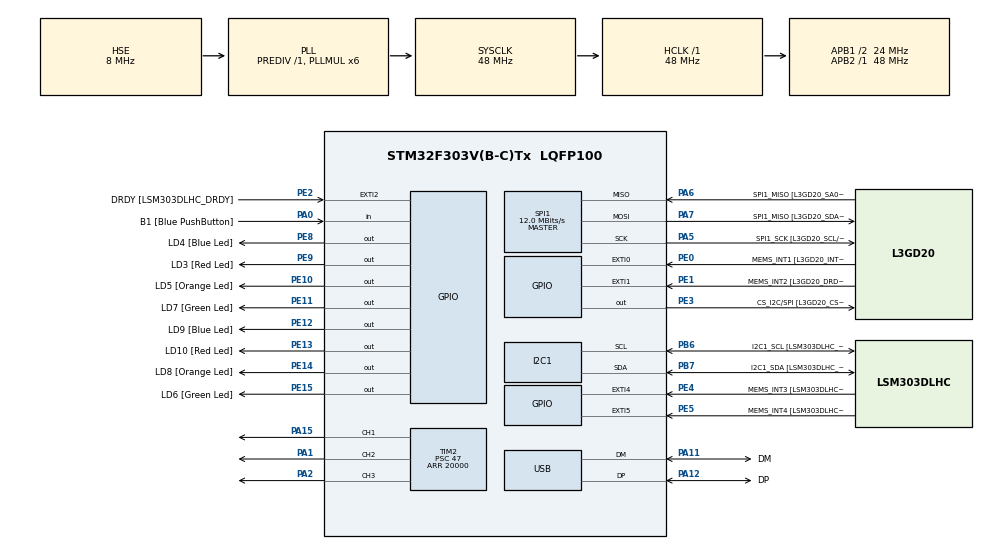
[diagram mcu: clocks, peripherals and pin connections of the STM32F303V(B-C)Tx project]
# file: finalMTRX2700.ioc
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I2C1.Timing=0x00201D2B
I2C1.Timing-I2C=0x2000090E
Mcu.Family=STM32F3
Mcu.Name=STM32F303V(B-C)Tx
Mcu.Package=LQFP100
NVIC.PriorityGroup=NVIC_PRIORITYGROUP_0
PA0.GPIO_Label=B1 [Blue PushButton]
PA0.Signal=GPIO_Input
PA1.Signal=S_TIM2_CH2
PA11.GPIO_Label=DM
PA11.Mode=Device
PA11.Signal=USB_DM
PA12.GPIO_Label=DP
PA12.Mode=Device
PA12.Signal=USB_DP
PA13.GPIO_Label=SWDIO
PA13.Mode=Serial_Wire
PA13.Signal=SYS_JTMS-SWDIO
PA14.GPIO_Label=SWCLK
PA14.Mode=Serial_Wire
PA14.Signal=SYS_JTCK-SWCLK
PA15.Signal=S_TIM2_CH1_ETR
PA2.Signal=S_TIM2_CH3
PA5.GPIO_Label=SPI1_SCK [L3GD20_SCL/SPC]
PA5.Mode=Full_Duplex_Master
PA5.Signal=SPI1_SCK
PA6.GPIO_Label=SPI1_MISO [L3GD20_SA0/SDO]
PA6.Mode=Full_Duplex_Master
PA6.Signal=SPI1_MISO
PA7.GPIO_Label=SPI1_MISO [L3GD20_SDA/SDI/SDO]
PA7.Mode=Full_Duplex_Master
PA7.Signal=SPI1_MOSI
PB3.GPIO_Label=SWO
PB3.Signal=SYS_JTDO-TRACESWO
PB6.GPIO_Label=I2C1_SCL [LSM303DLHC_SCL]
PB6.GPIO_Pu=GPIO_PULLUP
PB6.Mode=I2C
PB6.Signal=I2C1_SCL
PB7.GPIO_Label=I2C1_SDA [LSM303DLHC_SDA]
PB7.GPIO_Pu=GPIO_PULLUP
PB7.Mode=I2C
PB7.Signal=I2C1_SDA
PC14-OSC32_IN.GPIO_Label=OSC32_IN
PC14-OSC32_IN.Signal=RCC_OSC32_IN
PC15-OSC32_OUT.GPIO_Label=OSC32_OUT
PC15-OSC32_OUT.Signal=RCC_OSC32_OUT
PE0.GPIO_Label=MEMS_INT1 [L3GD20_INT1]
PE0.GPIO_ModeDefaultEXTI=GPIO_MODE_EVT_RISING
PE0.Signal=GPXTI0
PE1.GPIO_Label=MEMS_INT2 [L3GD20_DRDY/INT2]
PE1.GPIO_ModeDefaultEXTI=GPIO_MODE_EVT_RISING
PE1.Signal=GPXTI1
PE10.GPIO_Label=LD5 [Orange Led]
PE10.Signal=GPIO_Output
PE11.GPIO_Label=LD7 [Green Led]
PE11.Signal=GPIO_Output
PE12.GPIO_Label=LD9 [Blue Led]
PE12.Signal=GPIO_Output
PE13.GPIO_Label=LD10 [Red Led]
PE13.Signal=GPIO_Output
PE14.GPIO_Label=LD8 [Orange Led]
PE14.Signal=GPIO_Output
PE15.GPIO_Label=LD6 [Green Led]
PE15.Signal=GPIO_Output
PE2.GPIO_Label=DRDY [LSM303DLHC_DRDY]
PE2.GPIO_ModeDefaultEXTI=GPIO_MODE_EVT_RISING
PE2.Signal=GPXTI2
PE3.GPIO_Label=CS_I2C/SPI [L3GD20_CS_I2C/SPI]
PE3.Signal=GPIO_Output
PE4.GPIO_Label=MEMS_INT3 [LSM303DLHC_INT1]
PE4.GPIO_ModeDefaultEXTI=GPIO_MODE_EVT_RISING
PE4.Signal=GPXTI4
PE5.GPIO_Label=MEMS_INT4 [LSM303DLHC_INT2]
PE5.GPIO_ModeDefaultEXTI=GPIO_MODE_EVT_RISING
PE5.Signal=GPXTI5
PE8.GPIO_Label=LD4 [Blue Led]
PE8.Signal=GPIO_Output
PE9.GPIO_Label=LD3 [Red Led]
PE9.Signal=GPIO_Output
PF0-OSC_IN.GPIO_Label=OSC_IN
PF0-OSC_IN.Mode=HSE-External-Clock-Source
PF0-OSC_IN.Signal=RCC_OSC_IN
PF1-OSC_OUT.GPIO_Label=OSC_OUT
PF1-OSC_OUT.Signal=RCC_OSC_OUT
ProjectManager.HeapSize=0x200
ProjectManager.StackSize=0x400
ProjectManager.TargetToolchain=STM32CubeIDE
RCC.AHBFreq_Value=48000000
RCC.APB1CLKDivider=RCC_HCLK_DIV2
RCC.APB1Freq_Value=24000000
RCC.APB1TimFreq_Value=48000000
RCC.APB2Freq_Value=48000000
RCC.APB2TimFreq_Value=48000000
RCC.CortexFreq_Value=48000000
RCC.HCLKFreq_Value=48000000
RCC.HSE_VALUE=8000000
RCC.HSI_VALUE=8000000
RCC.LSE_VALUE=32768
RCC.PLLMUL=RCC_PLL_MUL6
RCC.SYSCLKFreq_VALUE=48000000
RCC.SYSCLKSourceVirtual=RCC_SYSCLKSOURCE_PLLCLK
RCC.USBFreq_Value=48000000
SH.S_TIM2_CH1_ETR.0=TIM2_CH1,PWM Generation1 CH1
SH.S_TIM2_CH2.0=TIM2_CH2,PWM Generation2 CH2
SH.S_TIM2_CH3.0=TIM2_CH3,PWM Generation3 CH3
SPI1.BaudRatePrescaler=SPI_BAUDRATEPRESCALER_4
SPI1.BaudRatePrescaler-Full_Duplex_Master=SPI_BAUDRATEPRESCALER_2
SPI1.CLKPhase=SPI_PHASE_2EDGE
SPI1.CLKPolarity=SPI_POLARITY_HIGH
SPI1.CalculateBaudRate=12.0 MBits/s
SPI1.CalculateBaudRate-Full_Duplex_Master=24.0 MBits/s
SPI1.DataSize=SPI_DATASIZE_8BIT
SPI1.Direction=SPI_DIRECTION_2LINES
SPI1.Mode=SPI_MODE_MASTER
SPI1.Mode-Full_Duplex_Master=SPI_MODE_MASTER
SPI1.VirtualType=VM_MASTER
TIM2.Channel-PWM\ Generation1\ CH1=TIM_CHANNEL_1
TIM2.Channel-PWM\ Generation2\ CH2=TIM_CHANNEL_2
TIM2.Channel-PWM\ Generation3\ CH3=TIM_CHANNEL_3
TIM2.Period=20000
TIM2.Prescaler=47
TIM2.Pulse-PWM\ Generation1\ CH1=0
TIM2.Pulse-PWM\ Generation2\ CH2=0
TIM2.Pulse-PWM\ Generation3\ CH3=0
board=STM32F3DISCOVERY

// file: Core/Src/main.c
/* USER CODE BEGIN Header */
/**
  ******************************************************************************
  * @file           : main.c
  * @brief          : Main program body
  ******************************************************************************
  * @attention
  *
  * Copyright (c) 2025 STMicroelectronics.
  * All rights reserved.
  *
  * This software is licensed under terms that can be found in the LICENSE file
  * in the root directory of this software component.
  * If no LICENSE file comes with this software, it is provided AS-IS.
  *
  ******************************************************************************
  */
/* USER CODE END Header */
#include "main.h"

I2C_HandleTypeDef hi2c1;

SPI_HandleTypeDef hspi1;

TIM_HandleTypeDef htim2;

PCD_HandleTypeDef hpcd_USB_FS;

void SystemClock_Config(void);
static void MX_GPIO_Init(void);
static void MX_I2C1_Init(void);
static void MX_SPI1_Init(void);
static void MX_USB_PCD_Init(void);
static void MX_TIM2_Init(void);
/* USER CODE BEGIN PFP */
void PERIPHERAL_CLOCKS_Init(void); // Enable all peripheral clocks (simplify code)
void EXTI0_Init(void); // Enable interrupts for user push button
void TIM3_Init(void); // Enable timer interrupts
void TIM4_Init(void); // Enable timer interrupts
void LED_Init(void); // Enable board LED output

/* USER CODE END PFP */

int main(void)
{

  /* MCU Configuration--------------------------------------------------------*/

  /* Reset of all peripherals, Initializes the Flash interface and the Systick. */
  HAL_Init();

  /* Configure the system clock */
  SystemClock_Config();

  /* Initialize all configured peripherals */
  MX_GPIO_Init();
  MX_I2C1_Init();
  MX_SPI1_Init();
  MX_USB_PCD_Init();
  MX_TIM2_Init();
  /* USER CODE BEGIN 2 */

  // Call user-defined initialisation functions
  PERIPHERAL_CLOCKS_Init(); // Start all peripheral clocks
  EXTI0_Init(); // Enable interrupts for EXTIO line
  TIM3_Init(); // Enable timer interrupts
  TIM4_Init(); // Enable timer interrupts
  LED_Init(); // Enable LEDs

  SerialInitialise(BAUD_115200, &USART1_PORT, &finishedTransmissionCallback); // Initialise UART

  /* USER CODE END 2 */

  /* Infinite loop */
  /* USER CODE BEGIN WHILE */

  HAL_TIM_PWM_Start(&htim2, TIM_CHANNEL_1);
  HAL_TIM_PWM_Start(&htim2, TIM_CHANNEL_2);
  HAL_TIM_PWM_Start(&htim2, TIM_CHANNEL_3);

  // Enable PWM for timer 8 + set initial servo angle
  setupGPIOPinsTim8();
  setupTim8Pwm();
  servoAngle(2, 60); // Set initial servo position

  // Initialise morse code module
  delayMiliSec(1000); // Add delay for startup
  initialiseMorse(); // Initialise the struct to store morse code values
  initialiseLevelCompleteFlag(); // Initialise the challenge as incomplete

  while (1)
  {

	  if (getLevelCompleteFlag() == 1) {
		  levelCompleteProcedure();

	  }
    /* USER CODE END WHILE */

  }
}

void SystemClock_Config(void)
{
  RCC_OscInitTypeDef RCC_OscInitStruct = {0};
  RCC_ClkInitTypeDef RCC_ClkInitStruct = {0};
  RCC_PeriphCLKInitTypeDef PeriphClkInit = {0};

  /** Initializes the RCC Oscillators according to the specified parameters
  * in the RCC_OscInitTypeDef structure.
  */
  RCC_OscInitStruct.OscillatorType = RCC_OSCILLATORTYPE_HSI|RCC_OSCILLATORTYPE_HSE;
  RCC_OscInitStruct.HSEState = RCC_HSE_BYPASS;
  RCC_OscInitStruct.HSEPredivValue = RCC_HSE_PREDIV_DIV1;
  RCC_OscInitStruct.HSIState = RCC_HSI_ON;
  RCC_OscInitStruct.HSICalibrationValue = RCC_HSICALIBRATION_DEFAULT;
  RCC_OscInitStruct.PLL.PLLState = RCC_PLL_ON;
  RCC_OscInitStruct.PLL.PLLSource = RCC_PLLSOURCE_HSE;
  RCC_OscInitStruct.PLL.PLLMUL = RCC_PLL_MUL6;
  if (HAL_RCC_OscConfig(&RCC_OscInitStruct) != HAL_OK)
  {
    Error_Handler();
  }

  /** Initializes the CPU, AHB and APB buses clocks
  */
  RCC_ClkInitStruct.ClockType = RCC_CLOCKTYPE_HCLK|RCC_CLOCKTYPE_SYSCLK
                              |RCC_CLOCKTYPE_PCLK1|RCC_CLOCKTYPE_PCLK2;
  RCC_ClkInitStruct.SYSCLKSource = RCC_SYSCLKSOURCE_PLLCLK;
  RCC_ClkInitStruct.AHBCLKDivider = RCC_SYSCLK_DIV1;
  RCC_ClkInitStruct.APB1CLKDivider = RCC_HCLK_DIV2;
  RCC_ClkInitStruct.APB2CLKDivider = RCC_HCLK_DIV1;

  if (HAL_RCC_ClockConfig(&RCC_ClkInitStruct, FLASH_LATENCY_1) != HAL_OK)
  {
    Error_Handler();
  }
  PeriphClkInit.PeriphClockSelection = RCC_PERIPHCLK_USB|RCC_PERIPHCLK_I2C1;
  PeriphClkInit.I2c1ClockSelection = RCC_I2C1CLKSOURCE_HSI;
  PeriphClkInit.USBClockSelection = RCC_USBCLKSOURCE_PLL;
  if (HAL_RCCEx_PeriphCLKConfig(&PeriphClkInit) != HAL_OK)
  {
    Error_Handler();
  }
}

static void MX_I2C1_Init(void)
{

  hi2c1.Instance = I2C1;
  hi2c1.Init.Timing = 0x00201D2B;
  hi2c1.Init.OwnAddress1 = 0;
  hi2c1.Init.AddressingMode = I2C_ADDRESSINGMODE_7BIT;
  hi2c1.Init.DualAddressMode = I2C_DUALADDRESS_DISABLE;
  hi2c1.Init.OwnAddress2 = 0;
  hi2c1.Init.OwnAddress2Masks = I2C_OA2_NOMASK;
  hi2c1.Init.GeneralCallMode = I2C_GENERALCALL_DISABLE;
  hi2c1.Init.NoStretchMode = I2C_NOSTRETCH_DISABLE;
  if (HAL_I2C_Init(&hi2c1) != HAL_OK)
  {
    Error_Handler();
  }

  /** Configure Analogue filter
  */
  if (HAL_I2CEx_ConfigAnalogFilter(&hi2c1, I2C_ANALOGFILTER_ENABLE) != HAL_OK)
  {
    Error_Handler();
  }

  /** Configure Digital filter
  */
  if (HAL_I2CEx_ConfigDigitalFilter(&hi2c1, 0) != HAL_OK)
  {
    Error_Handler();
  }

}

static void MX_SPI1_Init(void)
{

  /* SPI1 parameter configuration*/
  hspi1.Instance = SPI1;
  hspi1.Init.Mode = SPI_MODE_MASTER;
  hspi1.Init.Direction = SPI_DIRECTION_2LINES;
  hspi1.Init.DataSize = SPI_DATASIZE_8BIT;
  hspi1.Init.CLKPolarity = SPI_POLARITY_HIGH;
  hspi1.Init.CLKPhase = SPI_PHASE_2EDGE;
  hspi1.Init.NSS = SPI_NSS_SOFT;
  hspi1.Init.BaudRatePrescaler = SPI_BAUDRATEPRESCALER_4;
  hspi1.Init.FirstBit = SPI_FIRSTBIT_MSB;
  hspi1.Init.TIMode = SPI_TIMODE_DISABLE;
  hspi1.Init.CRCCalculation = SPI_CRCCALCULATION_DISABLE;
  hspi1.Init.CRCPolynomial = 7;
  hspi1.Init.CRCLength = SPI_CRC_LENGTH_DATASIZE;
  hspi1.Init.NSSPMode = SPI_NSS_PULSE_DISABLE;
  if (HAL_SPI_Init(&hspi1) != HAL_OK)
  {
    Error_Handler();
  }

}

static void MX_TIM2_Init(void)
{

  TIM_MasterConfigTypeDef sMasterConfig = {0};
  TIM_OC_InitTypeDef sConfigOC = {0};

  htim2.Instance = TIM2;
  htim2.Init.Prescaler = 47;
  htim2.Init.CounterMode = TIM_COUNTERMODE_UP;
  htim2.Init.Period = 20000;
  htim2.Init.ClockDivision = TIM_CLOCKDIVISION_DIV1;
  htim2.Init.AutoReloadPreload = TIM_AUTORELOAD_PRELOAD_DISABLE;
  if (HAL_TIM_PWM_Init(&htim2) != HAL_OK)
  {
    Error_Handler();
  }
  sMasterConfig.MasterOutputTrigger = TIM_TRGO_RESET;
  sMasterConfig.MasterSlaveMode = TIM_MASTERSLAVEMODE_DISABLE;
  if (HAL_TIMEx_MasterConfigSynchronization(&htim2, &sMasterConfig) != HAL_OK)
  {
    Error_Handler();
  }
  sConfigOC.OCMode = TIM_OCMODE_PWM1;
  sConfigOC.Pulse = 0;
  sConfigOC.OCPolarity = TIM_OCPOLARITY_HIGH;
  sConfigOC.OCFastMode = TIM_OCFAST_DISABLE;
  if (HAL_TIM_PWM_ConfigChannel(&htim2, &sConfigOC, TIM_CHANNEL_1) != HAL_OK)
  {
    Error_Handler();
  }
  if (HAL_TIM_PWM_ConfigChannel(&htim2, &sConfigOC, TIM_CHANNEL_2) != HAL_OK)
  {
    Error_Handler();
  }
  if (HAL_TIM_PWM_ConfigChannel(&htim2, &sConfigOC, TIM_CHANNEL_3) != HAL_OK)
  {
    Error_Handler();
  }
  HAL_TIM_MspPostInit(&htim2);

}

static void MX_USB_PCD_Init(void)
{

  hpcd_USB_FS.Instance = USB;
  hpcd_USB_FS.Init.dev_endpoints = 8;
  hpcd_USB_FS.Init.speed = PCD_SPEED_FULL;
  hpcd_USB_FS.Init.phy_itface = PCD_PHY_EMBEDDED;
  hpcd_USB_FS.Init.low_power_enable = DISABLE;
  hpcd_USB_FS.Init.battery_charging_enable = DISABLE;
  if (HAL_PCD_Init(&hpcd_USB_FS) != HAL_OK)
  {
    Error_Handler();
  }

}

static void MX_GPIO_Init(void)
{
  GPIO_InitTypeDef GPIO_InitStruct = {0};

  /* GPIO Ports Clock Enable */
  __HAL_RCC_GPIOE_CLK_ENABLE();
  __HAL_RCC_GPIOC_CLK_ENABLE();
  __HAL_RCC_GPIOF_CLK_ENABLE();
  __HAL_RCC_GPIOA_CLK_ENABLE();
  __HAL_RCC_GPIOB_CLK_ENABLE();

  /*Configure GPIO pin Output Level */
  HAL_GPIO_WritePin(GPIOE, CS_I2C_SPI_Pin|LD4_Pin|LD3_Pin|LD5_Pin
                          |LD7_Pin|LD9_Pin|LD10_Pin|LD8_Pin
                          |LD6_Pin, GPIO_PIN_RESET);

  /*Configure GPIO pins : DRDY_Pin MEMS_INT3_Pin MEMS_INT4_Pin MEMS_INT1_Pin
                           MEMS_INT2_Pin */
  GPIO_InitStruct.Pin = DRDY_Pin|MEMS_INT3_Pin|MEMS_INT4_Pin|MEMS_INT1_Pin
                          |MEMS_INT2_Pin;
  GPIO_InitStruct.Mode = GPIO_MODE_EVT_RISING;
  GPIO_InitStruct.Pull = GPIO_NOPULL;
  HAL_GPIO_Init(GPIOE, &GPIO_InitStruct);

  /*Configure GPIO pins : CS_I2C_SPI_Pin LD4_Pin LD3_Pin LD5_Pin
                           LD7_Pin LD9_Pin LD10_Pin LD8_Pin
                           LD6_Pin */
  GPIO_InitStruct.Pin = CS_I2C_SPI_Pin|LD4_Pin|LD3_Pin|LD5_Pin
                          |LD7_Pin|LD9_Pin|LD10_Pin|LD8_Pin
                          |LD6_Pin;
  GPIO_InitStruct.Mode = GPIO_MODE_OUTPUT_PP;
  GPIO_InitStruct.Pull = GPIO_NOPULL;
  GPIO_InitStruct.Speed = GPIO_SPEED_FREQ_LOW;
  HAL_GPIO_Init(GPIOE, &GPIO_InitStruct);

  /*Configure GPIO pin : B1_Pin */
  GPIO_InitStruct.Pin = B1_Pin;
  GPIO_InitStruct.Mode = GPIO_MODE_INPUT;
  GPIO_InitStruct.Pull = GPIO_NOPULL;
  HAL_GPIO_Init(B1_GPIO_Port, &GPIO_InitStruct);

}

/* USER CODE BEGIN 4 */

void PERIPHERAL_CLOCKS_Init(void) {
	// Enable all clocks for required GPIOs
	RCC->AHBENR |= RCC_AHBENR_GPIOAEN | RCC_AHBENR_GPIOBEN | RCC_AHBENR_GPIOCEN | RCC_AHBENR_GPIODEN | RCC_AHBENR_GPIOEEN;
}

void EXTI0_Init(void) {
	__disable_irq(); // Disable interrupts during setup

	GPIOA->MODER &= ~0x3; // Set pin 0 mode to 00 (input)

	RCC->APB2ENR |= RCC_APB2ENR_SYSCFGEN; // Enable SYSCFG clock
	SYSCFG->EXTICR[0] &= ~SYSCFG_EXTICR1_EXTI0; // Clear EXTI0 mapping
	SYSCFG->EXTICR[0] |= SYSCFG_EXTICR1_EXTI0_PA; // Map EXTI0 to PA0

	EXTI->IMR |= EXTI_IMR_MR0; // Unmask EXTI0
	EXTI->RTSR |= EXTI_RTSR_TR0; // Trigger on rising edge (start timer)
	EXTI->FTSR |= EXTI_FTSR_TR0; // Trigger on falling edge (stop timer)

	NVIC_EnableIRQ(EXTI0_IRQn);    // For EXTI lines 0 and 1
	NVIC_SetPriority(EXTI0_IRQn, 2);  // Optional: Set lower priority

	__enable_irq(); // Re-enable interrupts post-setup
}

void TIM3_Init(void) {
	__disable_irq(); // Disable interrupts during setup

	RCC->APB1ENR |= RCC_APB1ENR_TIM3EN; // Enable timer 3

	// Configure timer registers
	TIM3->PSC = 47999; // Prescaler of 1 ms for 48 MHz clock
	TIM3->ARR = 499; // Auto-reload after 500 ms for morse code application

    TIM3->EGR = TIM_EGR_UG; // Generate an update event (apply PSC + ARR)

    TIM3->DIER |= TIM_DIER_UIE; // Enable update interrupts

	NVIC_SetPriority(TIM3_IRQn, 1); // Set interrupt priority to 0
	NVIC_EnableIRQ(TIM3_IRQn);     // Enable Timer 3 interrupt

	__enable_irq(); // Re-enable interrupts post-setup
}

void TIM4_Init(void) {
    // Enable TIM4 peripheral clock
    RCC->APB1ENR |= RCC_APB1ENR_TIM4EN;

    // Configure prescaler so 1 tick = 1 ms (assuming 48 MHz system clock)
    TIM4->PSC = 47999;   // (48,000,000 / (47999 + 1)) = 1000 Hz = 1 ms per tick

    // Set auto-reload to maximum (for longer delays)
    TIM4->ARR = 0xFFFFFFFF;

    TIM4->EGR = TIM_EGR_UG; // Generate an update event (apply PSC + ARR)

    // Just in case: make sure counter is off
    TIM4->CR1 = 0;
}

void LED_Init(void) {

	// Initialise pointer to higher half-word of MODE register in GPIOE
    uint16_t *led_output_registers = ((uint16_t *)&(GPIOE->MODER)) + 1;

    *led_output_registers = 0x5555; // Output mode 0b01 for each port
}

/* USER CODE END 4 */

void Error_Handler(void)
{
  __disable_irq();
  while (1)
  {
  }
}
